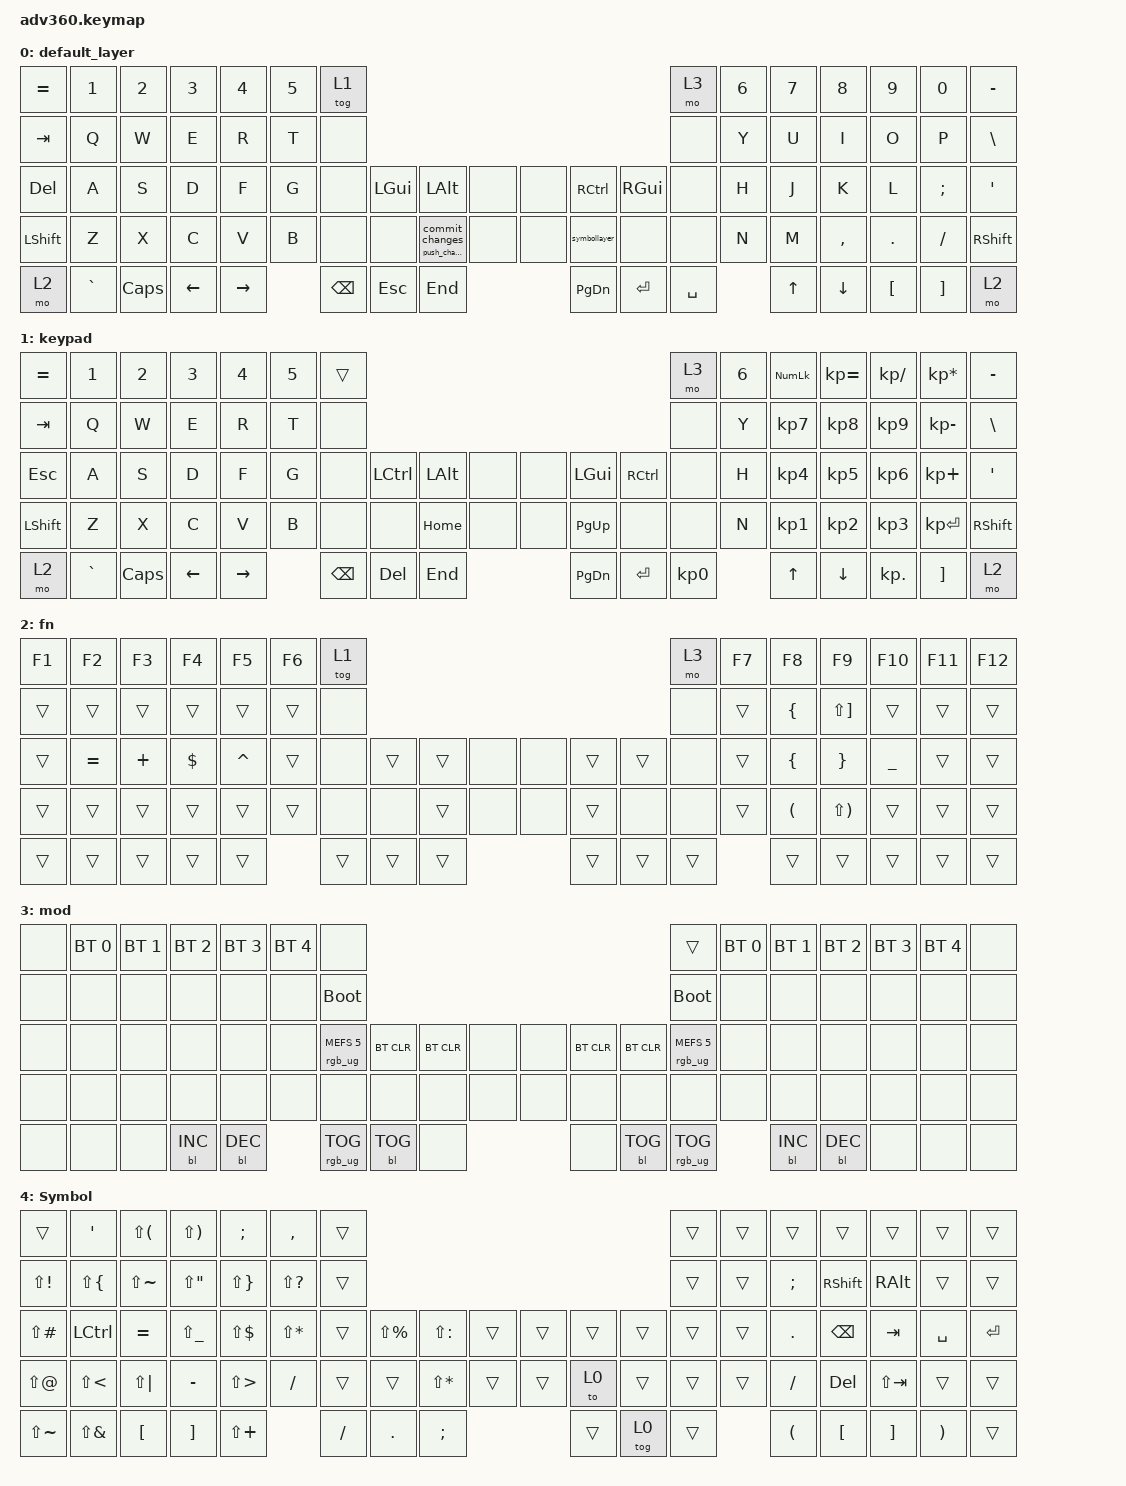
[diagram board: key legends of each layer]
#include <behaviors.dtsi>
#include <dt-bindings/zmk/backlight.h>
#include <dt-bindings/zmk/bt.h>
#include <dt-bindings/zmk/keys.h>
#include <dt-bindings/zmk/rgb.h>

/ {
    behaviors {
        #include "macros.dtsi"

        hm: homerow_mods {
            compatible = "zmk,behavior-hold-tap";
            label = "HOMEROW_MODS";
            #binding-cells = <2>;
            tapping-term-ms = <200>;
            quick_tap_ms = <175>;
            flavor = "tap-preferred";
            bindings = <&kp>, <&kp>;
        };

        commt_and_push: commt_and_push {
            compatible = "zmk,behavior-hold-tap";
            label = "COMMT_AND_PUSH";
            bindings = <&push_changes>, <&commit_changes>;

            #binding-cells = <2>;
            tapping-term-ms = <250>;
        };

        symbollayer: symbollayer {
            compatible = "zmk,behavior-tap-dance";
            label = "SYMBOLLAYER";
            #binding-cells = <0>;
            bindings = <&mo 4>, <&to 4>;
        };
    };

    macros {
        launch_debug: launch_debug {
            compatible = "zmk,behavior-macro";
            #binding-cells = <0>;
            bindings = <&kp LG(F9)>;
            label = "LAUNCH_DEBUG";
        };

        commit_changes: commit_changes {
            compatible = "zmk,behavior-macro";
            #binding-cells = <0>;
            bindings = <&kp LG(K)>;
            label = "COMMIT_CHANGES";
        };

        push_changes: push_changes {
            compatible = "zmk,behavior-macro";
            #binding-cells = <0>;
            bindings = <&kp LG(LS(K))>;
            label = "PUSH_CHANGES";
        };
    };

    keymap {
        compatible = "zmk,keymap";

        default_layer {
            bindings = <
&kp EQUAL   &kp N1     &kp N2    &kp N3    &kp N4     &kp N5  &tog 1                                                                          &mo 3      &kp N6  &kp N7  &kp N8     &kp N9    &kp N0    &kp MINUS
&kp TAB     &kp Q      &kp W     &kp E     &kp R      &kp T   &none                                                                           &none      &kp Y   &kp U   &kp I      &kp O     &kp P     &kp BSLH
&kp DELETE  &kp A      &kp S     &kp D     &kp F      &kp G   &none     &kp LGUI  &kp LALT             &none  &none  &kp RCTRL     &kp RGUI   &none      &kp H   &kp J   &kp K      &kp L     &kp SEMI  &kp SQT
&kp LSHFT   &kp Z      &kp X     &kp C     &kp V      &kp B   &none     &none     &commt_and_push 0 0  &none  &none  &symbollayer  &none      &none      &kp N   &kp M   &kp COMMA  &kp DOT   &kp FSLH  &kp RSHFT
&mo 2       &kp GRAVE  &kp CAPS  &kp LEFT  &kp RIGHT          &kp BSPC  &kp ESC   &kp END                            &kp PG_DN     &kp ENTER  &kp SPACE          &kp UP  &kp DOWN   &kp LBKT  &kp RBKT  &mo 2
            >;
        };

        keypad {
            bindings = <
&kp EQUAL  &kp N1     &kp N2    &kp N3    &kp N4     &kp N5  &trans                                                             &mo 3      &kp N6  &kp KP_NUM  &kp KP_EQUAL  &kp KP_DIVIDE  &kp KP_MULTIPLY  &kp MINUS
&kp TAB    &kp Q      &kp W     &kp E     &kp R      &kp T   &none                                                              &none      &kp Y   &kp KP_N7   &kp KP_N8     &kp KP_N9      &kp KP_MINUS     &kp BSLH
&kp ESC    &kp A      &kp S     &kp D     &kp F      &kp G   &none     &kp LCTRL  &kp LALT  &none  &none  &kp LGUI   &kp RCTRL  &none      &kp H   &kp KP_N4   &kp KP_N5     &kp KP_N6      &kp KP_PLUS      &kp SQT
&kp LSHFT  &kp Z      &kp X     &kp C     &kp V      &kp B   &none     &none      &kp HOME  &none  &none  &kp PG_UP  &none      &none      &kp N   &kp KP_N1   &kp KP_N2     &kp KP_N3      &kp KP_ENTER     &kp RSHFT
&mo 2      &kp GRAVE  &kp CAPS  &kp LEFT  &kp RIGHT          &kp BSPC  &kp DEL    &kp END                 &kp PG_DN  &kp ENTER  &kp KP_N0          &kp UP      &kp DOWN      &kp KP_DOT     &kp RBKT         &mo 2
            >;
        };

        fn {
            bindings = <
&kp F1  &kp F2     &kp F3    &kp F4      &kp F5     &kp F6  &tog 1                                                &mo 3   &kp F7  &kp F8                &kp F9                     &kp F10         &kp F11  &kp F12
&trans  &trans     &trans    &trans      &trans     &trans  &none                                                 &none   &trans  &kp LEFT_BRACE        &kp LS(RIGHT_BRACKET)      &trans          &trans   &trans
&trans  &kp EQUAL  &kp PLUS  &kp DOLLAR  &kp CARET  &trans  &none   &trans  &trans  &none  &none  &trans  &trans  &none   &trans  &kp LEFT_BRACE        &kp RIGHT_BRACE            &kp UNDERSCORE  &trans   &trans
&trans  &trans     &trans    &trans      &trans     &trans  &none   &none   &trans  &none  &none  &trans  &none   &none   &trans  &kp LEFT_PARENTHESIS  &kp LS(RIGHT_PARENTHESIS)  &trans          &trans   &trans
&trans  &trans     &trans    &trans      &trans             &trans  &trans  &trans                &trans  &trans  &trans          &trans                &trans                     &trans          &trans   &trans
            >;
        };

        mod {
            bindings = <
&none  &bt BT_SEL 0  &bt BT_SEL 1  &bt BT_SEL 2  &bt BT_SEL 3  &bt BT_SEL 4  &none                                                                                 &trans                  &bt BT_SEL 0  &bt BT_SEL 1  &bt BT_SEL 2  &bt BT_SEL 3  &bt BT_SEL 4  &none
&none  &none         &none         &none         &none         &none         &bootloader                                                                           &bootloader             &none         &none         &none         &none         &none         &none
&none  &none         &none         &none         &none         &none         &rgb_ug RGB_MEFS_CMD 5  &bt BT_CLR  &bt BT_CLR  &none  &none  &bt BT_CLR  &bt BT_CLR  &rgb_ug RGB_MEFS_CMD 5  &none         &none         &none         &none         &none         &none
&none  &none         &none         &none         &none         &none         &none                   &none       &none       &none  &none  &none       &none       &none                   &none         &none         &none         &none         &none         &none
&none  &none         &none         &bl BL_INC    &bl BL_DEC                  &rgb_ug RGB_TOG         &bl BL_TOG  &none                     &none       &bl BL_TOG  &rgb_ug RGB_TOG                       &bl BL_INC    &bl BL_DEC    &none         &none         &none
            >;
        };

        Symbol {
            bindings = <
&trans         &kp APOS      &kp LS(LPAR)   &kp LS(RPAR)   &kp SEMI      &kp COMMA      &trans                                                                  &trans  &trans  &trans                &trans           &trans         &trans                 &trans
&kp LS(EXCL)   &kp LS(LBRC)  &kp LS(TILDE)  &kp LS(DQT)    &kp LS(RBRC)  &kp LS(QMARK)  &trans                                                                  &trans  &trans  &kp SEMICOLON         &kp RIGHT_SHIFT  &kp RIGHT_ALT  &trans                 &trans
&kp LS(POUND)  &kp LCTRL     &kp EQUAL      &kp LS(UNDER)  &kp LS(DLLR)  &kp LS(STAR)   &trans    &kp LS(PRCNT)  &kp LS(COLON)  &trans  &trans  &trans  &trans  &trans  &trans  &kp DOT               &kp BSPC         &kp TAB        &kp SPACE              &kp ENTER
&kp LS(AT)     &kp LS(LT)    &kp LS(PIPE)   &kp MINUS      &kp LS(GT)    &kp FSLH       &trans    &trans         &kp LS(STAR)   &trans  &trans  &to 0   &trans  &trans  &trans  &kp FSLH              &kp DEL          &kp LS(TAB)    &trans                 &trans
&kp LS(TILDE)  &kp LS(AMPS)  &kp LBKT       &kp RBKT       &kp LS(PLUS)                 &kp FSLH  &kp DOT        &kp SEMI                       &trans  &tog 0  &trans          &kp LEFT_PARENTHESIS  &kp LBKT         &kp RBKT       &kp RIGHT_PARENTHESIS  &trans
            >;
        };
    };
};
